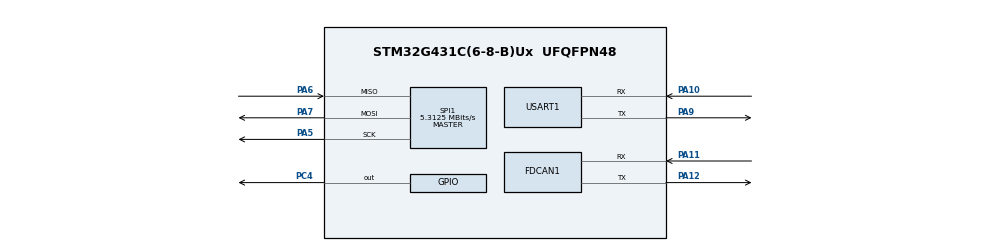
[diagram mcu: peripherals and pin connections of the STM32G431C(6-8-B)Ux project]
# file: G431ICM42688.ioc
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FDCAN1.CalculateBaudRateNominal=2125000
FDCAN1.CalculateTimeBitNominal=470
FDCAN1.CalculateTimeQuantumNominal=94.11764705882354
Mcu.Family=STM32G4
Mcu.Name=STM32G431C(6-8-B)Ux
Mcu.Package=UFQFPN48
NVIC.PriorityGroup=NVIC_PRIORITYGROUP_4
PA10.Mode=Asynchronous
PA10.Signal=USART1_RX
PA11.Mode=FDCAN_Activate
PA11.Signal=FDCAN1_RX
PA12.Mode=FDCAN_Activate
PA12.Signal=FDCAN1_TX
PA13.Mode=Serial_Wire
PA13.Signal=SYS_JTMS-SWDIO
PA14.Mode=Serial_Wire
PA14.Signal=SYS_JTCK-SWCLK
PA5.Mode=Full_Duplex_Master
PA5.Signal=SPI1_SCK
PA6.Mode=Full_Duplex_Master
PA6.Signal=SPI1_MISO
PA7.Mode=Full_Duplex_Master
PA7.Signal=SPI1_MOSI
PA9.Mode=Asynchronous
PA9.Signal=USART1_TX
PC4.Signal=GPIO_Output
PF0-OSC_IN.Mode=HSE-External-Clock-Source
PF0-OSC_IN.Signal=RCC_OSC_IN
ProjectManager.HeapSize=0x1000
ProjectManager.StackSize=0x1000
ProjectManager.TargetToolchain=MDK-ARM V5.32
RCC.ADC12Freq_Value=170000000
RCC.AHBFreq_Value=170000000
RCC.APB1Freq_Value=170000000
RCC.APB1TimFreq_Value=170000000
RCC.APB2Freq_Value=170000000
RCC.APB2TimFreq_Value=170000000
RCC.CortexFreq_Value=170000000
RCC.EXTERNAL_CLOCK_VALUE=12288000
RCC.HCLKFreq_Value=170000000
RCC.HSE_VALUE=8000000
RCC.HSI48_VALUE=48000000
RCC.HSI_VALUE=16000000
RCC.LSE_VALUE=32768
RCC.PLLM=RCC_PLLM_DIV2
RCC.PLLN=85
RCC.PLLSourceVirtual=RCC_PLLSOURCE_HSE
RCC.SYSCLKFreq_VALUE=170000000
RCC.SYSCLKSource=RCC_SYSCLKSOURCE_PLLCLK
RCC.USBFreq_Value=170000000
RCC.VCOOutputFreq_Value=340000000
SPI1.BaudRatePrescaler=SPI_BAUDRATEPRESCALER_32
SPI1.CalculateBaudRate=5.3125 MBits/s
SPI1.Direction=SPI_DIRECTION_2LINES
SPI1.Mode=SPI_MODE_MASTER
SPI1.VirtualType=VM_MASTER
USART1.VirtualMode-Asynchronous=VM_ASYNC
VP_SYS_VS_DBSignals.Mode=DisableDeadBatterySignals
board=custom

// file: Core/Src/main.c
/* USER CODE BEGIN Header */
/**
  ******************************************************************************
  * @file           : main.c
  * @brief          : Main program body
  ******************************************************************************
  * @attention
  *
  * Copyright (c) 2023 STMicroelectronics.
  * All rights reserved.
  *
  * This software is licensed under terms that can be found in the LICENSE file
  * in the root directory of this software component.
  * If no LICENSE file comes with this software, it is provided AS-IS.
  *
  ******************************************************************************
  */
/* USER CODE END Header */
#include "main.h"
#include "fdcan.h"
#include "spi.h"
#include "usart.h"
#include "gpio.h"
#include "invn_algo_asf.h"

void SystemClock_Config(void);

/* USER CODE BEGIN 0 */

void SPI1_IRQHandler(void);
void SysTick_Handler(void);

void SYS_LED_ON()
{
	LL_GPIO_SetOutputPin(GPIOA,LL_GPIO_PIN_3);
}

void SYS_LED_OFF()
{
	LL_GPIO_ResetOutputPin(GPIOA,LL_GPIO_PIN_3);
}

void SYS_LED_TOG()
{
	LL_GPIO_TogglePin(GPIOA,LL_GPIO_PIN_3);
}

void CAN_LED_ON()
{
	LL_GPIO_SetOutputPin(GPIOA,LL_GPIO_PIN_4);
}

void CAN_LED_OFF()
{
	LL_GPIO_ResetOutputPin(GPIOA,LL_GPIO_PIN_4);
}

void CAN_LED_TOG()
{
	LL_GPIO_TogglePin(GPIOA,LL_GPIO_PIN_4);
}

void SystemClock_Config(void);

void ICM_SPI_CS_LOW(void)
{
		LL_GPIO_ResetOutputPin(GPIOC,LL_GPIO_PIN_4);
}

void ICM_SPI_CS_HIGH(void)
{
		LL_GPIO_SetOutputPin(GPIOC,LL_GPIO_PIN_4);
}

void UART1_SendByte(char c)
{
	HAL_UART_Transmit(&huart1,(uint8_t *)&c,1,0xFFFF);
}

void UART1_SendFloat(float f)
{
	char *p = (char *)&f;
	for(int i=0;i<4;i++)
	{
		UART1_SendByte(*p);
		p++;
	}
}

void UART1_SendData(uint8_t *data,uint16_t len)
{
	HAL_UART_Transmit(&huart1,data,len,0xFFFF);
}

uint8_t data[64]  = {0};
uint8_t data_count = 0;

struct HighResFIFOPacket
{
	uint8_t head;
	int16_t acc_x_h;
	int16_t acc_y_h;
	int16_t acc_z_h;
	int16_t gyro_x_h;
	int16_t gyro_y_h;
	int16_t gyro_z_h;
	uint16_t temperature;
	uint16_t time_stamp;
	uint8_t acc_x_l:4;
	uint8_t gyro_x_l:4;
	uint8_t acc_y_l:4;
	uint8_t gyro_y_l:4;
	uint8_t acc_z_l:4;
	uint8_t gyro_z_l:4;
}__attribute__((packed));

union HighResFIFOPacketUnion
{
	uint8_t packet_data[20];
	struct HighResFIFOPacket packet_struct;
};

void SPI1_IRQHandler(void)
{
	data[data_count%64] = LL_SPI_ReceiveData8(SPI1);
	data_count++;
}

uint8_t icm42688_write_reg(uint8_t reg, uint8_t value)
{

    ICM_SPI_CS_LOW();

	for(int i=0;i<500;i++){;}

	LL_SPI_TransmitData8(SPI1,reg);
	LL_SPI_TransmitData8(SPI1,value);

	for(int i=0;i<500;i++){;}

    ICM_SPI_CS_HIGH();

    return 0;
}

 uint8_t icm42688_read_reg(uint8_t reg, uint8_t len)
{

    ICM_SPI_CS_LOW();

	for(int i=0;i<100;i++){;}

	reg |= 0x80;
	LL_SPI_TransmitData8(SPI1,reg);

	for(int i=0;i<len;i++)
	{
		//for(int i=0;i<10;i++){;}
		if(len>10)
		{
			for(int j=0;j<10;j++){;}
		}
		LL_SPI_TransmitData8(SPI1,0);
	}

	for(int i=0;i<50*len;i++){;}

    ICM_SPI_CS_HIGH();

    return 0;
}

uint8_t reg_val = 0;
static int32_t acc_bias[3] = {0,0,0};
static int32_t gyr_bias[3] = {0,0,0};
static int32_t acc_accuracy;
static int32_t gyr_accuracy;

static int read_reg_asf(uint8_t reg, uint8_t *buf, uint32_t len)
{
	data_count = 0;
	icm42688_read_reg(reg,len);

	for(int i=0;i<20*len;i++){;}

	if(reg == 0x75)
	{
		buf[0] = 0XDB;
	}
	else
	{
		for(int i=0;i<len;i++)
		{
			buf[i] = data[i+1];
		}
	}

	return 0;
}

static int write_reg_asf(uint8_t reg, const uint8_t *buf, uint32_t len)
{
	for(int i=0;i<len;i++)
	{
		icm42688_write_reg(reg,buf[i]);
	}
	return 0;
}

static void sleep_us_asf(uint32_t us)
{
	for(int i = us * 170;i>0;i--)
	{
	}
}

uint8_t icm_init_state = 0;
uint8_t icm_state = 0;
InvnAlgoASFConfig config;
InvnAlgoASFSerif  serif;

void ICM_INT(void)
{
	icm_state = 1;

	LL_AHB1_GRP1_EnableClock(LL_AHB1_GRP1_PERIPH_CRC);
    ICM_SPI_CS_LOW();
	for(int i=0;i<100;i++){;}

	LL_SPI_TransmitData8(SPI1,ICM42688_WHO_AM_I|0x80);
	LL_SPI_TransmitData8(SPI1,0);

	for(int i=0;i<100;i++){;}
	ICM_SPI_CS_HIGH();

	for(int i=0;i<100;i++){;}

    while(1)
	{
		if(data_count != 0)
		{
			if(data[1] == 0x47)
			{
				break;
			}
			else
			{
				data_count = 0;
				ICM_SPI_CS_LOW();
				for(int i=0;i<100;i++){;}

				LL_SPI_TransmitData8(SPI1,ICM42688_WHO_AM_I|0x80);
				LL_SPI_TransmitData8(SPI1,0);

				for(int i=0;i<100;i++){;}
				ICM_SPI_CS_HIGH();
			}
		}
		else
		{

			ICM_SPI_CS_LOW();
			for(int i=0;i<100;i++){;}

			LL_SPI_TransmitData8(SPI1,ICM42688_WHO_AM_I|0x80);
			LL_SPI_TransmitData8(SPI1,0);

			for(int i=0;i<100;i++){;}
			ICM_SPI_CS_HIGH();
		}
	}
	data_count = 0;

	icm42688_write_reg(ICM42688_REG_BANK_SEL, 0);
	icm42688_write_reg(ICM42688_PWR_MGMT0, 0x00);

	for(int i=0;i<10000;i++){;}

	icm42688_write_reg(ICM42688_FIFO_CONFIG,0x40);
	icm42688_write_reg(ICM42688_FIFO_CONFIG2, 0x00); // watermark
    icm42688_write_reg(ICM42688_FIFO_CONFIG3, 0x02); // watermark
	icm42688_write_reg(ICM42688_FIFO_CONFIG1, 0x10); // Enable the accel and gyro to the FIFO
	icm42688_write_reg(ICM42688_REG_BANK_SEL, 0);
	icm42688_write_reg(ICM42688_ACCEL_CONFIG0, 0x06);
	icm42688_write_reg(ICM42688_GYRO_CONFIG0, 0x26);
    icm42688_write_reg(ICM42688_INTF_CONFIG0, 0x00);

	for(int i=0;i<10000;i++){;}

	icm42688_write_reg(ICM42688_PWR_MGMT0, 0x0F);

    for(int i=0;i<10000;i++){;}

    serif.read_reg_asf  = read_reg_asf;
	serif.write_reg_asf = write_reg_asf;
	serif.sleep_us_asf  = sleep_us_asf;

	icm_state = invn_algo_asf_generate_config(&config, INVN_ALGO_ASF_HIGH_ACCURACY);

	config.acc_fsr = 16;
	config.gyr_fsr = 2000;

	config.mag_sc_q16 = 9830;
    config.mag_odr_us = 1000;

	config.acc_odr_us = 4000;
	config.gyr_odr_us = 4000;

	config.temp_offset = 25<<16;
	config.temp_sensitivity = (int32_t)((int64_t)((int64_t)100 << 30) / 13248); // high-res
	config.predictive_time_us = 4000;
	config.acc_bias_q16 = acc_bias;
	config.gyr_bias_q16 = gyr_bias;
	config.acc_accuracy = 0;
	config.gyr_accuracy = 0;

	config.gyr_cal_stationary_duration_us = 100000;
	config.fus_low_speed_drift_yaw = 10;

	icm_state = invn_algo_asf_init(&serif, &config);

	while(icm_state!=0)
	{
		icm_state = invn_algo_asf_init(&serif, &config);
		for(int i=0;i<10000;i++){;}

	}
	data_count = 0;
}

FDCAN_RxHeaderTypeDef RxHeader1;
FDCAN_TxHeaderTypeDef TxHeader2;
FDCAN_RxHeaderTypeDef RxHeader2;
 uint8_t can_rxbuf2[8];

void HAL_FDCAN_RxFifo0Callback(FDCAN_HandleTypeDef *hfdcan, uint32_t RxFifo0ITs)
{
	if (HAL_FDCAN_GetRxMessage(hfdcan, FDCAN_RX_FIFO0, &RxHeader1, can_rxbuf2) != HAL_OK)
    {
		Error_Handler();
    }
}

uint32_t time_count = 0;
uint32_t time_compute =  0;
uint32_t time_end = 750;
uint32_t test_counts = 0;
float y_Init = 0;
float y_final = 0;
uint16_t flag = 0;
int data_Min = 0;
float q[4] = {0.0f};
float rpy[3] = {0.0f};
float r,p,y = 0.0f;
float r_record[5],p_record[5], y_record[5]={0.0f};
//int r,p,y=0;
uint8_t asf_state;
uint8_t MSB_LSB_set_flag = 0;
uint8_t MSB_LSB_state = 0;
float bias = 0.0f;
float biasf = 0.0f;
float temp = 0.0f;
static InvnAlgoASFInput input;
static InvnAlgoASFOutput output;
uint8_t test_flag = 0;
uint8_t sendHeader[4] = {0xA5,0x00,0x00,0xff};

static int32_t icm_mounting_matrix[9] = { (1 << 30), 0, 0, 0, (1 << 30), 0, 0, 0, (1 << 30) };

static void apply_mounting_matrix(const int32_t matrix[9], int32_t raw[3])
{
	unsigned i;
	int64_t  data_q30[3];

	for (i = 0; i < 3; i++) {
		data_q30[i] = ((int64_t)matrix[3 * i + 0] * raw[0]);
		data_q30[i] += ((int64_t)matrix[3 * i + 1] * raw[1]);
		data_q30[i] += ((int64_t)matrix[3 * i + 2] * raw[2]);
	}
	raw[0] = (int32_t)(data_q30[0] >> 30);
	raw[1] = (int32_t)(data_q30[1] >> 30);
	raw[2] = (int32_t)(data_q30[2] >> 30);
}

float get_yaw(float m_q[4]){

    float q0 = m_q[0];
    float q1 = m_q[1];
    float q2 = m_q[2];
    float q3 = m_q[3];

    return atan2f(2.0f*(q1*q2+q0*q3),(q1*q1+q0*q0-q3*q3-q2*q2));

}

float get_pitch(float m_q[4]){

    float q0 = m_q[0];
    float q1 = m_q[1];
    float q2 = m_q[2];
    float q3 = m_q[3];

    return atan2f(2.0f*(q0*q1+q2*q3),(q3*q3-q2*q2-q1*q1+q0*q0));

}

float get_roll(float m_q[4]){

    float q0 = m_q[0];
    float q1 = m_q[1];
    float q2 = m_q[2];
    float q3 = m_q[3];

    return asinf(2.0f*q0*q2-2.0f*q1*q3);
}

void WXYPrintData(int data)
{
	if(data<0)
	{
		data=-data;
		UART1_SendByte('-');
	}
	else
	{
		UART1_SendByte('+');
	}
	int a=100000;
	while(a>1)
	{
		data=data%a;
		a=a/10;
		UART1_SendByte((char)('0'+(data/a)));
	}
}

union HighResFIFOPacketUnion packet_union;
static uint16_t time_stamp_test = 0;
static uint16_t last_time_stamp_test = 0;
static uint32_t systick = 0;
static float use_rate = 0.0f;
static float last_yaw = 0.0f;
static float abs_yaw = 0.0f;
static int32_t time_stamp = 0;

void SysTick_Handler(void)//2ms运行一次?
{
	SYS_LED_TOG();
	CAN_LED_TOG();
	test_counts++;

	if(test_counts < 5000)
	{
		return;
	}

	if(icm_state == 1)
	{
		return;
	}

	time_count++;

	float t = 0.002f;
	if(time_count%2 == 0)
	{
		data_count = 0;
		icm42688_read_reg(0X30 ,21);
	}
	else if (time_count%2 == 1)
	{
		if(data_count == 0 )
		{
			return;
		}

		for(uint8_t i = 0; i<20 ; i++)
		{
			packet_union.packet_data[i] = data[i+1];
		}
		input.mask = 3;

		input.sRacc_data[0] = ((((int32_t)packet_union.packet_struct.acc_x_h)<<4)+(int32_t)packet_union.packet_struct.acc_x_l);
		input.sRacc_data[1] = ((((int32_t)packet_union.packet_struct.acc_y_h)<<4)+(int32_t)packet_union.packet_struct.acc_y_l);

		input.sRacc_data[2] = ((((int32_t)packet_union.packet_struct.acc_z_h)<<4)+(int32_t)packet_union.packet_struct.acc_z_l);

		input.sRgyr_data[0] = ((((int32_t)packet_union.packet_struct.gyro_x_h)<<4)+(int32_t)packet_union.packet_struct.gyro_x_l);
		input.sRgyr_data[1] = ((((int32_t)packet_union.packet_struct.gyro_y_h)<<4)+(int32_t)packet_union.packet_struct.gyro_y_l);
		input.sRgyr_data[2] = ((((int32_t)packet_union.packet_struct.gyro_z_h)<<4)+(int32_t)packet_union.packet_struct.gyro_z_l);

		time_stamp += 4000;

		input.sRtemp_data = packet_union.packet_struct.temperature;
		input.sRimu_time_us = time_stamp;

		apply_mounting_matrix(icm_mounting_matrix, input.sRacc_data);
	    apply_mounting_matrix(icm_mounting_matrix, input.sRgyr_data);

		invn_algo_asf_process(&input, &output);

		for(uint8_t i = 0;i<4;i++)
		{
			q[i] = output.grv_quat_q30[i]*0.000000001F;
		}
		float sum = 0.0f;

		rpy[2] = get_yaw(q);
		rpy[1] = get_pitch(q);
		rpy[0] = get_roll(q);

//		r = (int)(rpy[0]*57.29578f*1000);
//		p = (int)(rpy[1]*57.29578f*1000);
//		y = (int)(rpy[2]*57.29578f*1000);
		r = rpy[0]*57.29578f;
		p = rpy[1]*57.29578f;
		y = rpy[2]*57.29578f;

		bias = output.gyr_bias_q16[2]*0.0001f;

		last_yaw = y;

		float delta_yaw = y - last_yaw;

		if(delta_yaw<-180.0f)
		{
			delta_yaw =  360.0f + delta_yaw;
		}
		else if(delta_yaw>180.0f)
		{
			delta_yaw = 360.0f - delta_yaw;
		}

		abs_yaw +=delta_yaw;

		temp = packet_union.packet_struct.temperature /132.48f + 25.0f;
	}

	   if((input.sRacc_data[1] > 400000&&flag == 0)||(time_compute < time_end && time_compute > 0))
	    {
			flag = 1;

			if(time_compute == 0){
				y_Init = y;
			}

			r_record[time_compute%10] = r;
			p_record[time_compute%10] = p;//连续记录5次pitch数据，用最后一次减去初始的，看是否变化超过了10度，假如超过了10度，基本可以确定是落地了。
			y_record[time_compute%10] = y;

			if(time_compute > 500){
				if(abs(r_record[4]-r_record[0])>10||abs(p_record[4]-p_record[0])>10||abs(y_record[4]-y_record[0])>10){
					time_compute = time_end;
				}
			}

		    time_compute++;

			if(abs(r) < 70){
				UART1_Printf("%.2f,", r);
				UART1_Printf("%.2f,", p);
				if(y-y_Init>180){
					y_final=360+y_Init-y;
				}else if (y-y_Init<-180)
				{
					y_final=360+y-y_Init;

				}else{

					y_final= y-y_Init;
				}
				UART1_Printf("%.2f,", y_final);
				UART1_Printf("%d", input.sRacc_data[1]);//通过打印此项能够观察到飞镖发射过程中加速是否平稳。

				UART1_SendByte('\n');
			}else{
				time_compute = time_end;
			}
	   }

	if(time_compute == time_end) //传输数据的时间为1.6s
	{
		UART1_SendByte('\n');
		time_compute = 0;
	}

	if(flag > 0){
		flag++;
		if(flag == 3000){
			flag = 0;    //此功能是防止飞镖落地后因装击再次触发数据传输，开始传输到下次能传输的时间间隔为6s
		}
	}

}

//			UART1_SendData(sendHeader,4);//标志�?
//			UART1_SendFloat(r);
//			UART1_SendFloat(p);
//			UART1_SendFloat(y);
/* USER CODE END 0 */

int main(void)
{

  /* MCU Configuration--------------------------------------------------------*/

  /* Reset of all peripherals, Initializes the Flash interface and the Systick. */
  HAL_Init();

  /* Configure the system clock */
  SystemClock_Config();

  /* Initialize all configured peripherals */
  MX_GPIO_Init();
  MX_FDCAN1_Init();
  MX_SPI1_Init();
  MX_USART1_UART_Init();
  /* USER CODE BEGIN 2 */
  ICM_INT();

  for(int i=0;i<1000000;i++){;}

  SysTick->CTRL |= SysTick_CTRL_TICKINT_Msk; // Enable SysTick Interrupt
  SysTick->LOAD = 85000000/250;//由250变为500
  SysTick->CTRL |= SysTick_CTRL_ENABLE_Msk; // Enable SysTick

  /* USER CODE END 2 */

  /* Infinite loop */
  while (1)
  {

  }
}

void SystemClock_Config(void)
{
  LL_FLASH_SetLatency(LL_FLASH_LATENCY_4);
  while(LL_FLASH_GetLatency() != LL_FLASH_LATENCY_4)
  {
  }
  LL_PWR_EnableRange1BoostMode();
  LL_RCC_HSE_EnableBypass();
  LL_RCC_HSE_Enable();
   /* Wait till HSE is ready */
  while(LL_RCC_HSE_IsReady() != 1)
  {
  }

  LL_RCC_PLL_ConfigDomain_SYS(LL_RCC_PLLSOURCE_HSE, LL_RCC_PLLM_DIV_2, 85, LL_RCC_PLLR_DIV_2);
  LL_RCC_PLL_EnableDomain_SYS();
  LL_RCC_PLL_Enable();
   /* Wait till PLL is ready */
  while(LL_RCC_PLL_IsReady() != 1)
  {
  }

  LL_RCC_SetSysClkSource(LL_RCC_SYS_CLKSOURCE_PLL);
  LL_RCC_SetAHBPrescaler(LL_RCC_SYSCLK_DIV_2);
   /* Wait till System clock is ready */
  while(LL_RCC_GetSysClkSource() != LL_RCC_SYS_CLKSOURCE_STATUS_PLL)
  {
  }

  /* Insure 1us transition state at intermediate medium speed clock*/
  for (__IO uint32_t i = (170 >> 1); i !=0; i--);

  /* Set AHB prescaler*/
  LL_RCC_SetAHBPrescaler(LL_RCC_SYSCLK_DIV_1);
  LL_RCC_SetAPB1Prescaler(LL_RCC_APB1_DIV_1);
  LL_RCC_SetAPB2Prescaler(LL_RCC_APB2_DIV_1);
  LL_SetSystemCoreClock(170000000);

   /* Update the time base */
  if (HAL_InitTick (TICK_INT_PRIORITY) != HAL_OK)
  {
    Error_Handler();
  }
  LL_RCC_SetFDCANClockSource(LL_RCC_FDCAN_CLKSOURCE_PCLK1);
}

void Error_Handler(void)
{
  __disable_irq();
  while (1)
  {
  }
}
